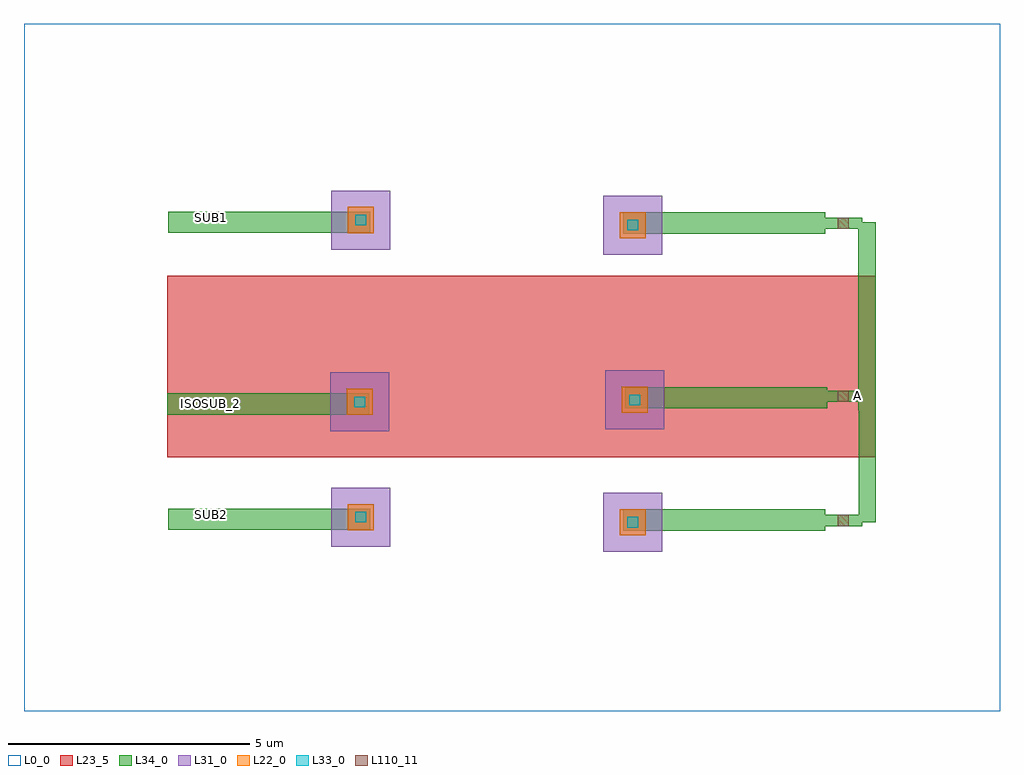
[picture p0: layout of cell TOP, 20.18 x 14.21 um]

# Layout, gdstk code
import gdstk
lib = gdstk.Library(unit=1e-6, precision=1e-09)
def R(c, l, rs):  # rectangles x0, y0, x1, y1
    for r in rs: c.add(gdstk.rectangle(r[:2], r[2:], *l))
L0_0 = (0, 0)
L22_0 = (22, 0)
L23_5 = (23, 5)
L31_0 = (31, 0)
L33_0 = (33, 0)
L34_0 = (34, 0)
L110_11 = (110, 11)

metal_resistor_1 = lib.new_cell('metal_resistor$1')
R(metal_resistor_1, L34_0, [(-0.28,0,0.51,0.23)])
R(metal_resistor_1, L110_11, [(0,0,0.23,0.23)])

top = lib.new_cell('TOP')
R(top, L0_0, [(-6.805,-10.135,13.38,4.075)])
R(top, L22_0, [(5.515,-6.5,6.055,-5.96), (-0.11,-6.395,0.43,-5.855), (-0.13,-4.012,0.41,-3.472), (5.555,-3.97,6.095,-3.43), (5.515,-0.355,6.055,0.185), (-0.11,-0.25,0.43,0.29)])
R(top, L23_5, [(-3.84,-4.885,10.81,-1.135)])
R(top, L31_0, [(5.175,-6.84,6.395,-5.62), (-0.45,-6.735,0.77,-5.515), (-0.47,-4.352,0.75,-3.132), (5.215,-4.31,6.435,-3.09), (5.175,-0.695,6.395,0.525), (-0.45,-0.59,0.77,0.63)])
R(top, L33_0, [(5.675,-6.34,5.895,-6.12), (0.05,-6.235,0.27,-6.015), (0.03,-3.852,0.25,-3.632), (5.715,-3.81,5.935,-3.59), (5.675,-0.195,5.895,0.025), (0.05,-0.09,0.27,0.13)])
R(top, L34_0, [(5.59,-6.405,9.765,-5.965), (-3.82,-6.39,0.355,-5.95), (10.46,-6.235,10.81,-3.615), (-3.84,-4.007,0.335,-3.567), (10.45,-3.915,10.81,-0.03), (5.63,-3.875,9.805,-3.435), (5.59,-0.26,9.765,0.18), (-3.82,-0.245,0.355,0.195)])
top.add(gdstk.Reference(metal_resistor_1, (10.02,-3.74)))
top.add(gdstk.Reference(metal_resistor_1, (10.02,-6.31)))
top.add(gdstk.Reference(metal_resistor_1, (10.02,-0.165)))
top.add(gdstk.Label('ISOSUB_2', (-2.955,-3.767), layer=34, texttype=10))
top.add(gdstk.Label('A', (10.43,-3.61), layer=34, texttype=10))
top.add(gdstk.Label('SUB2', (-2.935,-6.07), layer=34, texttype=10))
top.add(gdstk.Label('SUB1', (-2.935,0.075), layer=34, texttype=10))

lib.write_gds('TOP.gds')
